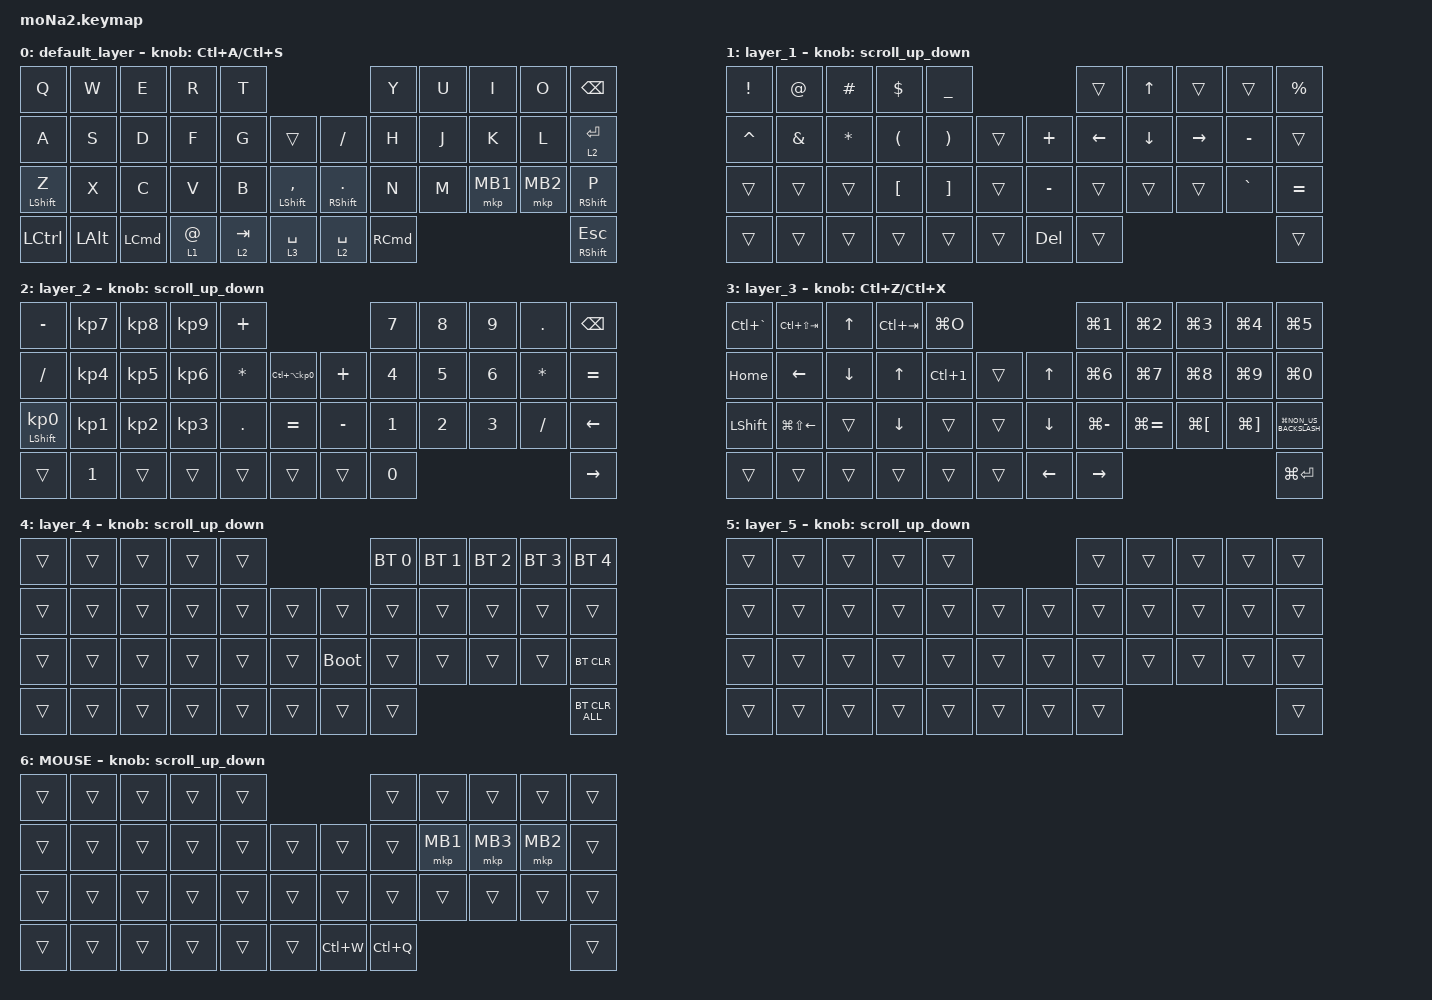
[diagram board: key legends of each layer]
#include <behaviors.dtsi>
#include <dt-bindings/zmk/bt.h>
#include <dt-bindings/zmk/keys.h>
#include <dt-bindings/zmk/pointing.h>

#define ZMK_POINTING_DEFAULT_SCRL_VAL 100
#define MOUSE 6

&mt {
    flavor = "balanced";
    quick-tap-ms = <0>;
};

/ {
    combos {
        compatible = "zmk,combos";

        scroll {
            bindings = <&mo 6>;
            key-positions = <32 31>;
        };

        MB3 {
            bindings = <&mkp MB3>;
            key-positions = <33 32>;
        };
    };

    macros {
        to_layer_0: to_layer_0 {
            compatible = "zmk,behavior-macro-one-param";
            #binding-cells = <1>;
            bindings = <&to 0 &macro_param_1to1 &kp MACRO_PLACEHOLDER>;
            label = "TO_LAYER_0";
        };

        atmark: atmark {
            compatible = "zmk,behavior-macro";
            #binding-cells = <0>;
            bindings = <&none>;
            label = "ATMARK";
        };
    };

    behaviors {
        lt_to_layer_0: lt_to_layer_0 {
            compatible = "zmk,behavior-hold-tap";
            label = "LAYER_TAP_TO_0";
            bindings = <&mo>, <&to_layer_0>;

            #binding-cells = <2>;
            tapping-term-ms = <200>;
        };

        scroll_up_down: behavior_sensor_rotate_mouse_wheel_up_down {
            compatible = "zmk,behavior-sensor-rotate";
            #sensor-binding-cells = <0>;
            bindings = <&msc SCRL_UP>, <&msc SCRL_DOWN>;

            tap-ms = <20>;
        };
    };

    keymap {
        compatible = "zmk,keymap";

        default_layer {
            bindings = <
&kp Q             &kp W         &kp E     &kp R          &kp T                                                      &kp Y     &kp U  &kp I     &kp O     &kp BACKSPACE
&kp A             &kp S         &kp D     &kp F          &kp G      &trans                  &kp SLASH               &kp H     &kp J  &kp K     &kp L     &lt 2 ENTER
&mt LEFT_SHIFT Z  &kp X         &kp C     &kp V          &kp B      &mt LEFT_SHIFT COMMA    &mt RIGHT_SHIFT PERIOD  &kp N     &kp M  &mkp MB1  &mkp MB2  &mt RIGHT_SHIFT P
&kp LCTRL         &kp LEFT_ALT  &kp LCMD  &lt 1 AT_SIGN  &lt 2 TAB  &lt 3 SPACE             &lt 2 SPACE             &kp RCMD                             &mt RIGHT_SHIFT ESC
            >;

            sensor-bindings = <&inc_dec_kp LC(A) LC(S)>;
        };

        layer_1 {
            bindings = <
&kp EXCLAMATION  &kp AT_SIGN    &kp HASH      &kp DOLLAR            &kp UNDERSCORE                               &trans          &kp UP_ARROW    &trans           &trans     &kp PERCENT
&kp CARET        &kp AMPERSAND  &kp ASTERISK  &kp LEFT_PARENTHESIS  &kp RIGHT_PARENTHESIS  &trans    &kp PLUS    &kp LEFT_ARROW  &kp DOWN_ARROW  &kp RIGHT_ARROW  &kp MINUS  &trans
&trans           &trans         &trans        &kp LEFT_BRACKET      &kp RIGHT_BRACKET      &trans    &kp MINUS   &trans          &trans          &trans           &kp GRAVE  &kp EQUAL
&trans           &trans         &trans        &trans                &trans                 &trans    &kp DELETE  &trans                                                      &trans
            >;

            sensor-bindings = <&scroll_up_down>;
        };

        layer_2 {
            bindings = <
&kp MINUS                   &kp KP_NUMBER_7  &kp KP_NUMBER_8  &kp KP_NUMBER_9  &kp PLUS                                            &kp NUMBER_7  &kp NUMBER_8  &kp NUMBER_9  &kp PERIOD    &kp BACKSPACE
&kp SLASH                   &kp KP_NUMBER_4  &kp KP_NUMBER_5  &kp KP_NUMBER_6  &kp ASTERISK  &kp LC(LA(KP_NUMBER_0))    &kp PLUS   &kp NUMBER_4  &kp N5        &kp NUMBER_6  &kp ASTERISK  &kp EQUAL
&mt LEFT_SHIFT KP_NUMBER_0  &kp KP_NUMBER_1  &kp KP_NUMBER_2  &kp KP_NUMBER_3  &kp PERIOD    &kp EQUAL                  &kp MINUS  &kp NUMBER_1  &kp NUMBER_2  &kp NUMBER_3  &kp SLASH     &kp LEFT
&trans                      &kp NUMBER_1     &trans           &trans           &trans        &trans                     &trans     &kp NUMBER_0                                            &kp RIGHT_ARROW
            >;

            sensor-bindings = <&scroll_up_down>;
        };

        layer_3 {
            bindings = <
&kp LC(GRAVE)   &kp LC(LS(TAB))         &kp UP_ARROW    &kp LC(TAB)     &kp LG(O)                                   &kp LG(NUMBER_1)  &kp LG(NUMBER_2)  &kp LG(NUMBER_3)      &kp LG(NUMBER_4)       &kp LG(NUMBER_5)
&kp HOME        &kp LEFT_ARROW          &kp DOWN_ARROW  &kp UP_ARROW    &kp LC(NUMBER_1)  &trans    &kp UP_ARROW    &kp LG(NUMBER_6)  &kp LG(NUMBER_7)  &kp LG(NUMBER_8)      &kp LG(NUMBER_9)       &kp LG(NUMBER_0)
&kp LEFT_SHIFT  &kp LG(LS(LEFT_ARROW))  &trans          &kp DOWN_ARROW  &trans            &trans    &kp DOWN_ARROW  &kp LG(MINUS)     &kp LG(EQUAL)     &kp LG(LEFT_BRACKET)  &kp LG(RIGHT_BRACKET)  &kp LG(NON_US_BACKSLASH)
&trans          &trans                  &trans          &trans          &trans            &trans    &kp LEFT_ARROW  &kp RIGHT_ARROW                                                                  &kp LG(ENTER)
            >;

            sensor-bindings = <&inc_dec_kp LC(Z) LC(X)>;
        };

        layer_4 {
            bindings = <
&trans  &trans  &trans  &trans  &trans                         &bt BT_SEL 0  &bt BT_SEL 1  &bt BT_SEL 2  &bt BT_SEL 3  &bt BT_SEL 4
&trans  &trans  &trans  &trans  &trans  &trans    &trans       &trans        &trans        &trans        &trans        &trans
&trans  &trans  &trans  &trans  &trans  &trans    &bootloader  &trans        &trans        &trans        &trans        &bt BT_CLR
&trans  &trans  &trans  &trans  &trans  &trans    &trans       &trans                                                  &bt BT_CLR_ALL
            >;

            sensor-bindings = <&scroll_up_down>;
        };

        layer_5 {
            bindings = <
&trans  &trans  &trans  &trans  &trans                    &trans  &trans  &trans  &trans  &trans
&trans  &trans  &trans  &trans  &trans  &trans    &trans  &trans  &trans  &trans  &trans  &trans
&trans  &trans  &trans  &trans  &trans  &trans    &trans  &trans  &trans  &trans  &trans  &trans
&trans  &trans  &trans  &trans  &trans  &trans    &trans  &trans                          &trans
            >;

            sensor-bindings = <&scroll_up_down>;
        };

        MOUSE {
            bindings = <
&trans  &trans  &trans  &trans  &trans                       &trans     &trans    &trans    &trans    &trans
&trans  &trans  &trans  &trans  &trans  &trans    &trans     &trans     &mkp MB1  &mkp MB3  &mkp MB2  &trans
&trans  &trans  &trans  &trans  &trans  &trans    &trans     &trans     &trans    &trans    &trans    &trans
&trans  &trans  &trans  &trans  &trans  &trans    &kp LC(W)  &kp LC(Q)                                &trans
            >;

            sensor-bindings = <&scroll_up_down>;
        };
    };
};
